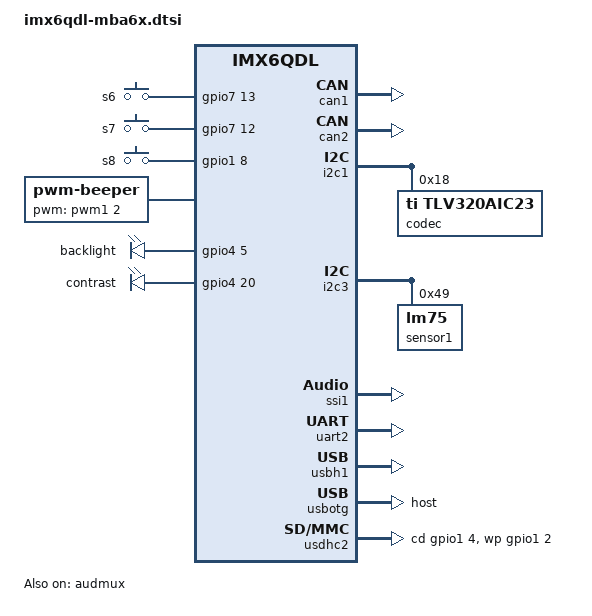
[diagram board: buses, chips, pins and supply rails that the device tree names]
/*
 * Copyright 2013 Sascha Hauer, Pengutronix
 *
 * The code contained herein is licensed under the GNU General Public
 * License. You may obtain a copy of the GNU General Public License
 * Version 2 or later at the following locations:
 *
 * http://www.opensource.org/licenses/gpl-license.html
 * http://www.gnu.org/copyleft/gpl.html
 */

/ {
	gpio_buttons: gpio_buttons@0 {
		compatible = "gpio-keys";
		#address-cells = <1>;
		#size-cells = <0>;
		pinctrl-names = "default";
		pinctrl-0 = <&pinctrl_gpiobuttons_1>;

		button@1 {
			label = "s6";
			linux,code = <64>; /* KEY_F6 */
			gpios = <&gpio7 13 0>;
		};

		button@2 {
			label = "s7";
			linux,code = <65>; /* KEY_F7 */
			gpios = <&gpio7 12 0>;
		};

		button@3 {
			label = "s8";
			linux,code = <66>; /* KEY_F8 */
			gpios = <&gpio1 8 0>;
		};
	};

	beeper: beeper@0 {
		compatible = "pwm-beeper";
		pwms = <&pwm1 2 5000000>;
	};

	disp0: display@0 {
		compatible = "fsl,imx-parallel-display";
		interface-pix-fmt = "rgb24";
		gpios = <&gpio7 11 0>; /* LCD.PWR_EN */
		status = "disabled";

		display-timings {
			tx14d11vm1cpd {
				clock-frequency = <4854369 5847953 7042253>;
				hactive = <320>;
				vactive = <240>;
				hfront-porch = <22 30 35>;
				hback-porch = <23 30 35>;
				hsync-len = <4 5 7>;
				vback-porch = <4 5 9>;
				vfront-porch = <5 6 10>;
				vsync-len = <2>;
				pixelclk-active = <1>;
				hsync-active = <0>;
				vsync-active = <0>;
				de-active = <1>;
			};
		};
	};

	gpio-leds {
		compatible = "gpio-leds";

		lcd-backlight-enable {
			label = "backlight";
			gpios = <&gpio4 5 0>; /* LCD.BLT_EN */
			linux,default-trigger = "default-on";
		};

		lcd-contrast {
			label = "contrast";
			gpios = <&gpio4 20 0>; /* LCD.CONTRAST */
			linux,default-trigger = "default-on";
		};
	};

	sound {
		/* Currently the kernel does not have a fabric driver for this */
		compatible = "fsl,imx6-tqma6x-tlv320aic23",
			     "fsl,imx-audio-tlv320aic23";
		model = "imx6-tqma6x-tlv320aic23";
		ssi-controller = <&ssi1>;
		audio-codec = <&codec>;
		mux-int-port = <1>;
		mux-ext-port = <3>;
	};
};

&audmux {
	pinctrl-names = "default";
	pinctrl-0 = <&pinctrl_audmux_2>;
	status = "okay";
};

&can1 {
	pinctrl-names = "default";
	pinctrl-0 = <&pinctrl_can1_1>;
	status = "okay";
};

&can2 {
	pinctrl-names = "default";
	pinctrl-0 = <&pinctrl_can2_1>;
	status = "okay";
};

&i2c1 {
	codec: tlv320@18 {
		compatible = "ti,tlv320aic23";
		reg = <0x18>;
	};
};

&i2c3 {
	sensor1: lm75@49 {
		compatible = "lm75";
		reg = <0x49>;
	};
};

&ldb {
	status = "disabled";

	lvds-channel@0 {
		fsl,data-mapping = "spwg";
		fsl,data-width = <24>;
		status = "disabled";

		display-timings {
			chimei-g070y2-l01 {
				clock-frequency = <27000000 29500000 33000000>;
				hactive = <800>;
				vactive = <480>;
				hfront-porch = <0>;
				hback-porch = <0>;
				hsync-len = <130 192 290>;
				vback-porch = <0>;
				vfront-porch = <2>;
				vsync-len = <10 20 70>;
				de-active = <1>;
				hsync-active = <0>;
				vsync-active = <0>;
			};
		};
	};
};

&ssi1 {
	fsl,mode = "i2s-slave";
	status = "okay";
};

&uart2 {
	status = "okay";
	pinctrl-names = "default";
	pinctrl-0 = <&pinctrl_uart2_2>;
};

&usbh1 {
	status = "okay";
	barebox,phy_type = "utmi";
	disable-over-current;
};

&usbotg {
	pinctrl-names = "default";
	pinctrl-0 = <&pinctrl_usbotg_1>;
	barebox,phy_type = "utmi";
	barebox,dr_mode = "peripheral";
	dr_mode = "host";
	disable-over-current;
	otg_id_pin_select_change;
	status = "okay";
};

&usdhc2 { /* Baseboard Slot */
	pinctrl-names = "default";
	pinctrl-0 = <&pinctrl_usdhc2_tqma6x>;
	cd-gpios = <&gpio1 4 0>;
	wp-gpios = <&gpio1 2 0>;
	status = "okay";
};
